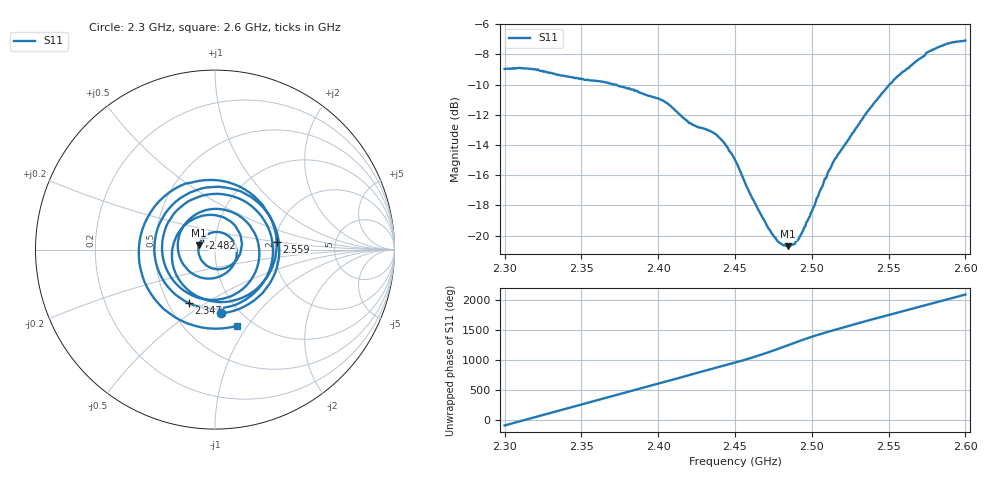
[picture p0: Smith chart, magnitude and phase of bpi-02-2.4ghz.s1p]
! NanoVNA-App
! Date: 2026-05-22 17:52:20
! Start: 2.3GHz Stop: 2.6GHz Points: 401
! S-Parameter data: F S11
# Hz S RI R 50
!  Frequency  S11_Real  S11_Imag
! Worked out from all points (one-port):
!   401 points, 2.3 GHz to 2.6 GHz, reference 50 ohm
!   lowest |S11| = -20.7 dB at 2.485 GHz (marker M1), VSWR 1.20, Z = 41.8 + j1.95 ohm
!   |S11| at or under -10 dB: 2.372 GHz to 2.551 GHz (178.5 MHz wide, 7.25 % of centre)
!   S11 on the Smith chart (normalised r, x): 2.3 GHz: 0.83, -0.67; 2.347 GHz: 0.64, -0.43; 2.482 GHz: 0.87, +0.11; 2.559 GHz: 2.04, +0.21; 2.6 GHz: 0.84, -0.89
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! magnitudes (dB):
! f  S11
! 2.3 GHz  -9.0
! 2.319 GHz  -9.0
! 2.337 GHz  -9.4
! 2.347 GHz  -9.6
! 2.375 GHz  -10.1
! 2.401 GHz  -11.0
! 2.413 GHz  -11.8
! 2.421 GHz  -12.6
! 2.437 GHz  -13.3
! 2.444 GHz  -14.0
! 2.45 GHz  -15.0
! 2.46 GHz  -17.2
! 2.471 GHz  -19.4
! 2.477 GHz  -20.3
! 2.482 GHz  -20.6
! 2.485 GHz  -20.7
! 2.487 GHz  -20.6
! 2.49 GHz  -20.3
! 2.494 GHz  -19.7
! 2.514 GHz  -15.2
! 2.525 GHz  -13.5
! 2.535 GHz  -11.9
! 2.545 GHz  -10.7
! 2.559 GHz  -9.2
! 2.562 GHz  -8.9
! 2.577 GHz  -7.8
! 2.589 GHz  -7.3
! 2.6 GHz  -7.1
